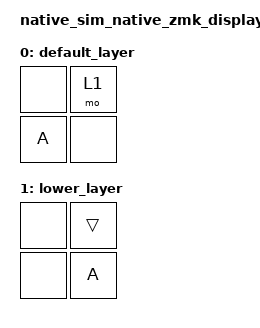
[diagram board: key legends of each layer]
#include <dt-bindings/zmk/keys.h>
#include <behaviors.dtsi>

/ {
    keymap {
        compatible = "zmk,keymap";

        default_layer {
            bindings = <
                &none &mo 1
                &kp A &none>;
        };

        lower_layer {
            bindings = <
                &none &trans
                &none  &kp A>;
        };
    };
};
